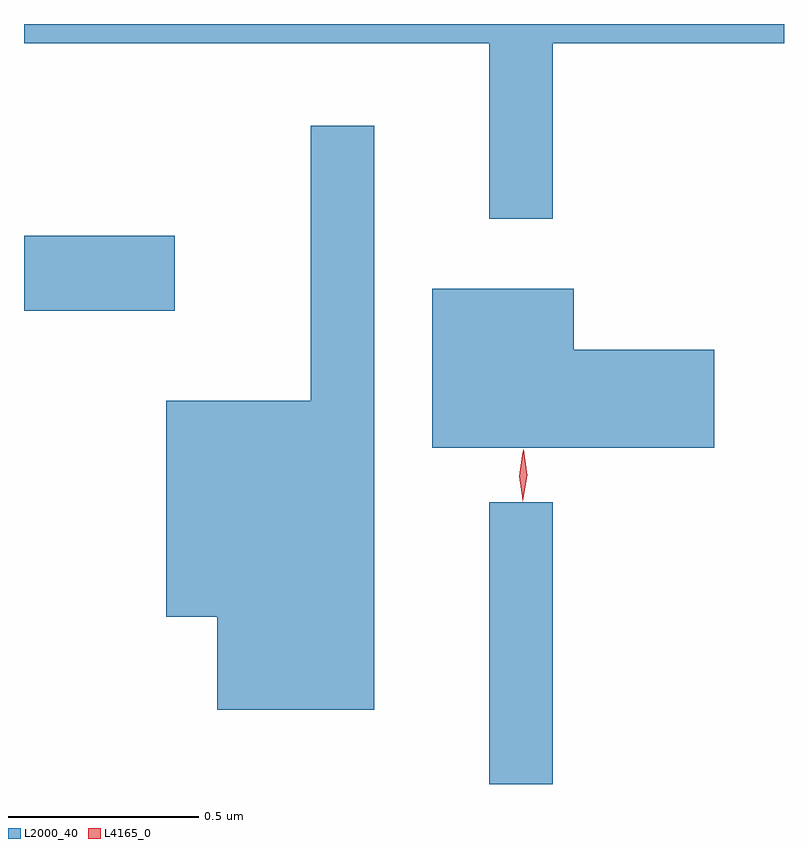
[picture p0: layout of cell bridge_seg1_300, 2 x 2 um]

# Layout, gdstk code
import gdstk
lib = gdstk.Library(unit=1e-6, precision=1e-09)
def R(c, l, rs):  # rectangles x0, y0, x1, y1
    for r in rs: c.add(gdstk.rectangle(r[:2], r[2:], *l))
def P(c, l, *ps):  # polygons
    for p in ps: c.add(gdstk.Polygon(p, *l))
L2000_40 = (2000, 40)
L4165_0 = (4165, 0)

bridge_seg1_300 = lib.new_cell('bridge_seg1_300')
R(bridge_seg1_300, L2000_40, [(887.561,902.066,887.729,902.808), (886.337,903.311,886.734,903.509)])
P(bridge_seg1_300, L2000_40, [(887.729,904.016),(888.337,904.016),(888.337,904.066),(886.337,904.066),(886.337,904.016),(887.561,904.016),(887.561,903.553),(887.729,903.553)],
  [(887.259,903.798),(887.091,903.798),(887.091,903.074),(886.711,903.074),(886.711,902.506),(886.846,902.506),(886.846,902.261),(887.259,902.261)],
  [(888.154,903.209),(887.784,903.209),(887.784,903.369),(887.411,903.369),(887.411,902.951),(888.154,902.951)])
P(bridge_seg1_300, L4165_0, [(887.65,902.813),(887.649,902.814),(887.64,902.876),(887.649,902.94),(887.65,902.94),(887.65,902.94),(887.66,902.876),(887.65,902.814)],
  [(887.649,902.81),(887.641,902.878),(887.651,902.945),(887.652,902.946),(887.652,902.945),(887.661,902.878),(887.65,902.81),(887.65,902.81)])

lib.write_gds('bridge_seg1_300.gds')
